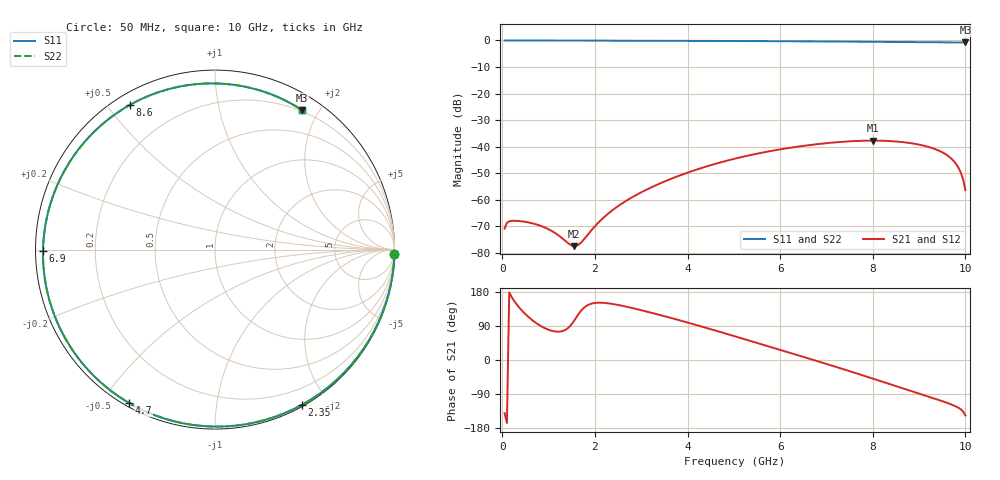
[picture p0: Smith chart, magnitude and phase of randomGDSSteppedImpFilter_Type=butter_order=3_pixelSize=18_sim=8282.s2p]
! freq	dB(S11)	phase(S11)	dB(S12)	phase(S12)
!  dB(S21)	phase(S21)	dB(S22)	phase(S22)
!S-par simulation data
#  GHz  S  DB  R 50
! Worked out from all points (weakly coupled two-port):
!   200 points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, 50 MHz to 10 GHz, reference 50 ohm
!   highest |S21| = -37.72 dB at 8 GHz (marker M1); lowest = -77.5 dB at 1.55 GHz (marker M2)
!   lowest |S11| = -0.8 dB at 10 GHz (marker M3), VSWR 22.85, Z = 9.23 + j89.3 ohm
!   |S11| at or under -10 dB: nowhere
!   |S22| runs from -0.8 to 0.0 dB; largest |S21 - S12| = 0
!   S11 on the Smith chart (normalised r, x): 50 MHz: 0, -87; 2.35 GHz: 0.02, -1.70; 4.7 GHz: 0.01, -0.58; 6.9 GHz: 0.02, -0.00; 8.6 GHz: 0.04, +0.57; 10 GHz: 0.18, +1.79
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0.05  -0.00 -1.3  -70.84 -140.3  -70.84 -140.3  -0.00 -1.3
0.1  -0.00 -2.6  -68.65 -166.2  -68.65 -166.2  -0.00 -2.6
0.2  -0.00 -5.3  -67.93 166.6  -67.93 166.6  -0.00 -5.3
0.65  -0.02 -17.1  -68.87 104.8  -68.87 104.8  -0.02 -17.1
1.05  -0.03 -27.5  -71.57 77.7  -71.57 77.7  -0.03 -27.5
1.55  -0.05 -40.4  -77.47 103.5  -77.47 103.5  -0.05 -40.4
1.75  -0.06 -45.6  -75.18 136.4  -75.18 136.4  -0.06 -45.5
2.35  -0.08 -60.8  -64.31 148.5  -64.31 148.5  -0.08 -60.8
3.4  -0.12 -87.0  -53.88 118.9  -53.88 118.9  -0.12 -87.0
4.7  -0.18 -119.4  -45.97 74.2  -45.97 74.2  -0.18 -119.4
5.05  -0.20 -128.3  -44.39 61.5  -44.39 61.5  -0.20 -128.2
5.95  -0.27 -152.0  -41.17 28.5  -41.17 28.5  -0.27 -152.0
6.7  -0.35 -173.4  -39.26 0.9  -39.26 0.9  -0.35 -173.4
6.9  -0.37 -179.5  -38.86 -6.6  -38.86 -6.6  -0.37 -179.5
8  -0.51 143.6  -37.72 -49.0  -37.72 -49.0  -0.51 143.6
8.35  -0.55 130.3  -37.87 -62.9  -37.87 -62.9  -0.55 130.3
8.6  -0.58 120.3  -38.19 -72.9  -38.19 -72.9  -0.58 120.3
9.15  -0.65 96.9  -39.83 -94.5  -39.83 -94.5  -0.65 96.9
9.65  -0.71 74.3  -43.80 -115.2  -43.80 -115.2  -0.71 74.3
9.85  -0.74 65.1  -47.90 -126.1  -47.90 -126.1  -0.74 65.0
9.95  -0.75 60.4  -52.28 -135.8  -52.28 -135.8  -0.75 60.3
10  -0.76 58.1  -56.37 -146.3  -56.37 -146.3  -0.76 58.0
